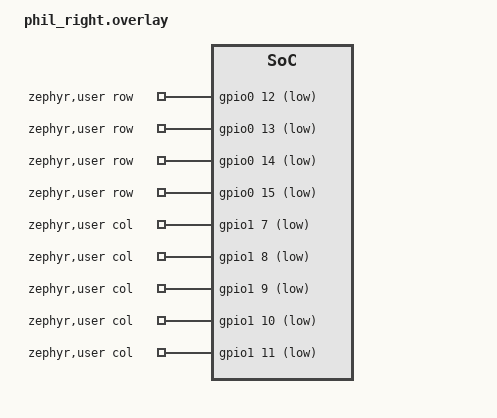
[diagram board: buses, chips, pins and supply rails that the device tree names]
/ {
    zephyr,user {
        row-gpios = <&gpio0 12 GPIO_ACTIVE_LOW>,
                    <&gpio0 13 GPIO_ACTIVE_LOW>,
                    <&gpio0 14 GPIO_ACTIVE_LOW>,
                    <&gpio0 15 GPIO_ACTIVE_LOW>;
        col-gpios = <&gpio1 7 GPIO_ACTIVE_LOW>,
                    <&gpio1 8 GPIO_ACTIVE_LOW>,
                    <&gpio1 9 GPIO_ACTIVE_LOW>,
                    <&gpio1 10 GPIO_ACTIVE_LOW>,
                    <&gpio1 11 GPIO_ACTIVE_LOW>;
        diode-direction = COL2ROW;
    };
};
